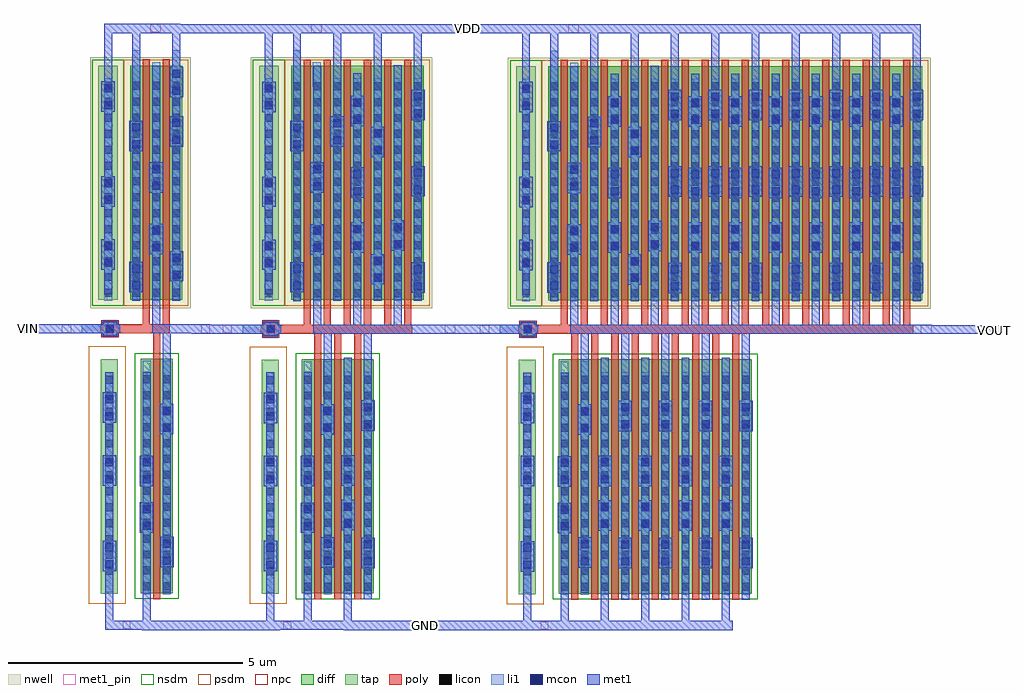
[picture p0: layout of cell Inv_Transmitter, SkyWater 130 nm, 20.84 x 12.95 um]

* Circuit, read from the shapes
.subckt Inv_Transmitter GND VDD VIN VOUT
XM1 Inverter1_1/INP VIN GND GND sky130_fd_pr__nfet_01v8 w=5 l=0.15
XM2 Inverter2_2/INP Inverter1_1/INP GND GND sky130_fd_pr__nfet_01v8 w=5 l=0.15 m=3
XM3 VOUT Inverter2_2/INP GND GND sky130_fd_pr__nfet_01v8 w=5 l=0.15 m=9
XM4 Inverter1_1/INP VIN VDD VDD sky130_fd_pr__pfet_01v8 w=5 l=0.15 m=2
XM5 Inverter2_2/INP Inverter1_1/INP VDD VDD sky130_fd_pr__pfet_01v8 w=5 l=0.15 m=6
XM6 VOUT Inverter2_2/INP VDD VDD sky130_fd_pr__pfet_01v8 w=5 l=0.15 m=18
.ends

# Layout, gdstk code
from math import pi, radians
import gdstk
lib = gdstk.Library(unit=1e-6, precision=1e-09)
def R(c, l, rs):  # rectangles x0, y0, x1, y1
    for r in rs: c.add(gdstk.rectangle(r[:2], r[2:], *l))
def A(c, l, x, y, w, h, nx, ny, dx, dy):  # array of equal rectangles
    R(c, l, [(x+i*dx, y+j*dy, x+i*dx+w, y+j*dy+h) for i in range(nx) for j in range(ny)])
nwell = (64, 20)
diff = (65, 20)
tap = (65, 44)
poly = (66, 20)
licon = (66, 44)
li1 = (67, 20)
mcon = (67, 44)
met1_pin = (68, 16)
met1 = (68, 20)
nsdm = (93, 44)
psdm = (94, 20)
npc = (95, 20)

dfl1sd_cdns_599788330632 = lib.new_cell('DFL1sd_CDNS_599788330632')
R(dfl1sd_cdns_599788330632, diff, [(0,0,0.265,5)])
A(dfl1sd_cdns_599788330632, licon, 0.055, 0.06, 0.17, 0.17, 1, 14, 0, 0.34)
R(dfl1sd_cdns_599788330632, li1, [(0.055,-0.02,0.225,4.73)])
R(dfl1sd_cdns_599788330632, nsdm, [(-0.125,-0.125,0.39,5.125)])

nfet_symbolic_cdns_59978 = lib.new_cell('nfet_symbolic_CDNS_599788330631')
R(nfet_symbolic_cdns_59978, diff, [(-0.25,0,0,5), (0,0,0.15,5), (0.15,0,0.4,5)])
R(nfet_symbolic_cdns_59978, poly, [(0,-0.13,0.15,5.13), (0,-0.13,0.15,0), (0,5,0.15,5.13)])
R(nfet_symbolic_cdns_59978, li1, [(-0.225,-0.02,-0.055,4.73), (0.205,-0.02,0.375,4.73)])
R(nfet_symbolic_cdns_59978, nsdm, [(-0.25,-0.125,0.4,5.125)])
nfet_symbolic_cdns_59978.add(gdstk.Reference(dfl1sd_cdns_599788330632, (0.15,0)))
nfet_symbolic_cdns_59978.add(gdstk.Reference(dfl1sd_cdns_599788330632, (0,0), rotation=pi, x_reflection=True))
nfet_symbolic_cdns_59978.add(gdstk.Label('D', (0.29,2.355), layer=83, texttype=44))
nfet_symbolic_cdns_59978.add(gdstk.Label('S', (-0.14,2.355), layer=83, texttype=44))

nfet_cdns_599788330630 = lib.new_cell('nfet_CDNS_599788330630')
nfet_cdns_599788330630.add(gdstk.Reference(nfet_symbolic_cdns_59978, (0,0)))

dfl1sd_cdns_599788330635 = lib.new_cell('DFL1sd_CDNS_599788330635')
R(dfl1sd_cdns_599788330635, nwell, [(-0.18,-0.18,0.445,5.18)])
R(dfl1sd_cdns_599788330635, diff, [(0,0,0.265,5)])
A(dfl1sd_cdns_599788330635, licon, 0.055, 0.06, 0.17, 0.17, 1, 14, 0, 0.34)
R(dfl1sd_cdns_599788330635, li1, [(0.055,-0.02,0.225,4.73)])
R(dfl1sd_cdns_599788330635, psdm, [(-0.125,-0.125,0.39,5.125)])

dfl1sd2_cdns_59978833063 = lib.new_cell('DFL1sd2_CDNS_599788330636')
R(dfl1sd2_cdns_59978833063, nwell, [(-0.18,-0.18,0.46,5.18)])
R(dfl1sd2_cdns_59978833063, diff, [(0,0,0.28,5)])
A(dfl1sd2_cdns_59978833063, licon, 0.055, 0.06, 0.17, 0.17, 1, 14, 0, 0.34)
R(dfl1sd2_cdns_59978833063, li1, [(0.055,-0.02,0.225,4.73)])
R(dfl1sd2_cdns_59978833063, psdm, [(-0.125,-0.125,0.405,5.125)])

pfet_symbolic_cdns_59978 = lib.new_cell('pfet_symbolic_CDNS_599788330634')
R(pfet_symbolic_cdns_59978, nwell, [(-0.445,-0.18,1.025,5.18)])
R(pfet_symbolic_cdns_59978, diff, [(-0.25,0,0,5), (0,0,0.15,5), (0.43,0,0.58,5), (0.58,0,0.83,5)])
R(pfet_symbolic_cdns_59978, poly, [(0,-0.13,0.15,5.13), (0,-0.13,0.15,0), (0.43,-0.13,0.58,5.13), (0.43,-0.13,0.58,0), (0,5,0.15,5.13), (0.43,5,0.58,5.13)])
A(pfet_symbolic_cdns_59978, li1, -0.225, -0.02, 0.17, 4.75, 3, 1, 0.43, 0)
R(pfet_symbolic_cdns_59978, psdm, [(-0.25,-0.125,0.15,5.125), (0.18,-0.125,0.83,5.125)])
pfet_symbolic_cdns_59978.add(gdstk.Reference(dfl1sd_cdns_599788330635, (0.58,0)))
pfet_symbolic_cdns_59978.add(gdstk.Reference(dfl1sd_cdns_599788330635, (0,0), rotation=pi, x_reflection=True))
pfet_symbolic_cdns_59978.add(gdstk.Reference(dfl1sd2_cdns_59978833063, (0.15,0)))
pfet_symbolic_cdns_59978.add(gdstk.Label('S', (0.72,2.355), layer=83, texttype=44))
pfet_symbolic_cdns_59978.add(gdstk.Label('D', (0.29,2.355), layer=83, texttype=44))
pfet_symbolic_cdns_59978.add(gdstk.Label('S', (-0.14,2.355), layer=83, texttype=44))

pfet_cdns_599788330633 = lib.new_cell('pfet_CDNS_599788330633')
R(pfet_cdns_599788330633, nwell, [(-1.125,-0.18,-0.445,5.18)])
R(pfet_cdns_599788330633, tap, [(-0.945,0,-0.535,5)])
A(pfet_cdns_599788330633, licon, -0.825, 0.06, 0.17, 0.17, 1, 14, 0, 0.34)
R(pfet_cdns_599788330633, li1, [(-0.825,-0.02,-0.655,4.73)])
R(pfet_cdns_599788330633, nsdm, [(-1.08,-0.125,-0.4,5.125)])
R(pfet_cdns_599788330633, psdm, [(-0.4,-0.125,-0.39,5.125)])
pfet_cdns_599788330633.add(gdstk.Reference(pfet_symbolic_cdns_59978, (0,0)))

l1m1_c_cdns_599788330630 = lib.new_cell('L1M1_C_CDNS_599788330630')
R(l1m1_c_cdns_599788330630, li1, [(-0.085,-0.085,0.085,0.085)])
R(l1m1_c_cdns_599788330630, mcon, [(-0.085,-0.085,0.085,0.085)])
R(l1m1_c_cdns_599788330630, met1, [(-0.145,-0.145,0.145,0.145)])

l1m1_c_cdns_599788330631 = lib.new_cell('L1M1_C_CDNS_599788330631')
R(l1m1_c_cdns_599788330631, li1, [(-0.085,-0.265,0.085,0.265)])
R(l1m1_c_cdns_599788330631, mcon, [(-0.085,-0.265,0.085,-0.095), (-0.085,0.095,0.085,0.265)])
R(l1m1_c_cdns_599788330631, met1, [(-0.145,-0.325,0.145,0.325)])

pyl1_c_cdns_599788330632 = lib.new_cell('PYL1_C_CDNS_599788330632')
R(pyl1_c_cdns_599788330632, poly, [(-0.165,-0.165,0.165,0.165)])
R(pyl1_c_cdns_599788330632, licon, [(-0.085,-0.085,0.085,0.085)])
R(pyl1_c_cdns_599788330632, li1, [(-0.165,-0.165,0.165,0.165)])
R(pyl1_c_cdns_599788330632, npc, [(-0.185,-0.185,0.185,0.185)])

inverter0 = lib.new_cell('Inverter0')
R(inverter0, tap, [(2.02,1.48,2.385,6.48)])
R(inverter0, poly, [(3.14,6.62,3.29,7.23), (2.005,7.035,3.495,7.23), (2.915,7.035,3.065,7.625), (3.345,7.035,3.495,7.625), (3.345,7.23,3.495,7.625)])
A(inverter0, licon, 2.12, 1.88, 0.17, 0.17, 1, 13, 0, 0.34)
R(inverter0, li1, [(2.12,1.505,2.29,6.21), (2.92,5.685,3.09,6.45), (3.34,5.685,3.51,6.45), (3.345,6.22,3.515,6.45), (1.615,7.035,2.435,7.23), (2.69,12.32,2.86,13.085), (3.115,12.32,3.285,12.83), (3.55,12.32,3.72,13.085)])
R(inverter0, met1_pin, [(2.485,0.725,2.65,0.885), (4.165,7.04,4.35,7.225), (1.19,7.05,1.385,7.225), (3.08,13.465,3.305,13.64)])
R(inverter0, met1, [(2.12,0.71,2.29,6.21), (2.12,0.71,3.09,0.905), (2.915,0.71,3.09,6.21), (3.345,1.51,3.515,7.23), (1.185,7.035,2.435,7.23), (3.12,7.035,4.37,7.23), (3.12,7.035,3.29,12.755), (2.69,7.73,2.86,13.645), (3.55,7.735,3.72,13.645), (2.09,7.875,2.26,13.645), (2.09,13.45,3.72,13.645)])
R(inverter0, psdm, [(1.765,1.265,2.555,6.76)])
inverter0.add(gdstk.Reference(nfet_cdns_599788330630, (3.14,1.49)))
inverter0.add(gdstk.Reference(pfet_cdns_599788330633, (2.915,7.755)))
inverter0.add(gdstk.Reference(l1m1_c_cdns_599788330630, (2.215,7.135)))
inverter0.add(gdstk.Reference(l1m1_c_cdns_599788330631, (2.175,12.09)))
inverter0.add(gdstk.Reference(l1m1_c_cdns_599788330631, (2.175,10.065)))
inverter0.add(gdstk.Reference(l1m1_c_cdns_599788330631, (2.175,8.72)))
inverter0.add(gdstk.Reference(l1m1_c_cdns_599788330631, (2.205,2.285)))
inverter0.add(gdstk.Reference(l1m1_c_cdns_599788330631, (2.205,4.105)))
inverter0.add(gdstk.Reference(l1m1_c_cdns_599788330631, (2.205,5.45)))
inverter0.add(gdstk.Reference(l1m1_c_cdns_599788330631, (2.775,8.24)))
inverter0.add(gdstk.Reference(l1m1_c_cdns_599788330631, (2.775,11.255)))
inverter0.add(gdstk.Reference(l1m1_c_cdns_599788330631, (3,3.105)))
inverter0.add(gdstk.Reference(l1m1_c_cdns_599788330631, (3,4.1)))
inverter0.add(gdstk.Reference(l1m1_c_cdns_599788330631, (3.205,9.05)))
inverter0.add(gdstk.Reference(l1m1_c_cdns_599788330631, (3.205,10.365)))
inverter0.add(gdstk.Reference(l1m1_c_cdns_599788330631, (3.425,5.205)))
inverter0.add(gdstk.Reference(l1m1_c_cdns_599788330631, (3.43,2.365)))
inverter0.add(gdstk.Reference(l1m1_c_cdns_599788330631, (3.635,11.35)))
inverter0.add(gdstk.Reference(l1m1_c_cdns_599788330631, (3.635,12.4)))
inverter0.add(gdstk.Reference(l1m1_c_cdns_599788330631, (3.64,8.47)))
inverter0.add(gdstk.Reference(pyl1_c_cdns_599788330632, (2.215,7.135)))
inverter0.add(gdstk.Label('VDD', (3.195,13.56), layer=68, texttype=20))
inverter0.add(gdstk.Label('INP', (1.3,7.12), layer=68, texttype=20))
inverter0.add(gdstk.Label('OUT', (4.25,7.16), layer=68, texttype=20))
inverter0.add(gdstk.Label('GND', (2.56,0.79), layer=68, texttype=20))

c_dfl1sd2_cdns_59978833063 = lib.new_cell('DFL1sd2_CDNS_599788330639')
R(c_dfl1sd2_cdns_59978833063, diff, [(0,0,0.28,5)])
A(c_dfl1sd2_cdns_59978833063, licon, 0.055, 0.06, 0.17, 0.17, 1, 14, 0, 0.34)
R(c_dfl1sd2_cdns_59978833063, li1, [(0.055,-0.02,0.225,4.73)])
R(c_dfl1sd2_cdns_59978833063, nsdm, [(-0.125,-0.125,0.405,5.125)])

c_nfet_symbolic_cdns_59978 = lib.new_cell('nfet_symbolic_CDNS_599788330638')
A(c_nfet_symbolic_cdns_59978, diff, 0, 0, 0.15, 5, 3, 1, 0.43, 0)
R(c_nfet_symbolic_cdns_59978, diff, [(-0.25,0,0,5), (1.01,0,1.26,5)])
A(c_nfet_symbolic_cdns_59978, poly, 0, -0.13, 0.15, 5.26, 3, 1, 0.43, 0)
A(c_nfet_symbolic_cdns_59978, poly, 0, -0.13, 0.15, 0.13, 3, 2, 0.43, 5.13)
A(c_nfet_symbolic_cdns_59978, li1, -0.225, -0.02, 0.17, 4.75, 4, 1, 0.43, 0)
R(c_nfet_symbolic_cdns_59978, nsdm, [(-0.25,-0.125,0.15,5.125), (0.18,-0.125,0.58,5.125), (0.61,-0.125,1.26,5.125)])
c_nfet_symbolic_cdns_59978.add(gdstk.Reference(dfl1sd_cdns_599788330632, (1.01,0)))
c_nfet_symbolic_cdns_59978.add(gdstk.Reference(dfl1sd_cdns_599788330632, (0,0), rotation=pi, x_reflection=True))
c_nfet_symbolic_cdns_59978.add(gdstk.Reference(c_dfl1sd2_cdns_59978833063, (0.58,0)))
c_nfet_symbolic_cdns_59978.add(gdstk.Reference(c_dfl1sd2_cdns_59978833063, (0.15,0)))
c_nfet_symbolic_cdns_59978.add(gdstk.Label('D', (1.15,2.355), layer=83, texttype=44))
c_nfet_symbolic_cdns_59978.add(gdstk.Label('S', (0.72,2.355), layer=83, texttype=44))
c_nfet_symbolic_cdns_59978.add(gdstk.Label('D', (0.29,2.355), layer=83, texttype=44))
c_nfet_symbolic_cdns_59978.add(gdstk.Label('S', (-0.14,2.355), layer=83, texttype=44))

nfet_cdns_599788330637 = lib.new_cell('nfet_CDNS_599788330637')
nfet_cdns_599788330637.add(gdstk.Reference(c_nfet_symbolic_cdns_59978, (0,0)))

c_pfet_symbolic_cdns_59978 = lib.new_cell('pfet_symbolic_CDNS_5997883306311')
R(c_pfet_symbolic_cdns_59978, nwell, [(-0.445,-0.18,2.745,5.18)])
A(c_pfet_symbolic_cdns_59978, diff, 0, 0, 0.15, 5, 6, 1, 0.43, 0)
R(c_pfet_symbolic_cdns_59978, diff, [(-0.25,0,0,5), (2.3,0,2.55,5)])
A(c_pfet_symbolic_cdns_59978, poly, 0, -0.13, 0.15, 5.26, 6, 1, 0.43, 0)
A(c_pfet_symbolic_cdns_59978, poly, 0, -0.13, 0.15, 0.13, 6, 2, 0.43, 5.13)
A(c_pfet_symbolic_cdns_59978, li1, -0.225, -0.02, 0.17, 4.75, 7, 1, 0.43, 0)
A(c_pfet_symbolic_cdns_59978, psdm, -0.25, -0.125, 0.4, 5.25, 5, 1, 0.43, 0)
R(c_pfet_symbolic_cdns_59978, psdm, [(1.9,-0.125,2.55,5.125)])
c_pfet_symbolic_cdns_59978.add(gdstk.Reference(dfl1sd_cdns_599788330635, (2.3,0)))
c_pfet_symbolic_cdns_59978.add(gdstk.Reference(dfl1sd_cdns_599788330635, (0,0), rotation=pi, x_reflection=True))
c_pfet_symbolic_cdns_59978.add(gdstk.Reference(dfl1sd2_cdns_59978833063, (1.87,0)))
c_pfet_symbolic_cdns_59978.add(gdstk.Reference(dfl1sd2_cdns_59978833063, (1.44,0)))
c_pfet_symbolic_cdns_59978.add(gdstk.Reference(dfl1sd2_cdns_59978833063, (1.01,0)))
c_pfet_symbolic_cdns_59978.add(gdstk.Reference(dfl1sd2_cdns_59978833063, (0.58,0)))
c_pfet_symbolic_cdns_59978.add(gdstk.Reference(dfl1sd2_cdns_59978833063, (0.15,0)))
c_pfet_symbolic_cdns_59978.add(gdstk.Label('S', (2.44,2.355), layer=83, texttype=44))
c_pfet_symbolic_cdns_59978.add(gdstk.Label('D', (2.01,2.355), layer=83, texttype=44))
c_pfet_symbolic_cdns_59978.add(gdstk.Label('S', (1.58,2.355), layer=83, texttype=44))
c_pfet_symbolic_cdns_59978.add(gdstk.Label('D', (1.15,2.355), layer=83, texttype=44))
c_pfet_symbolic_cdns_59978.add(gdstk.Label('S', (0.72,2.355), layer=83, texttype=44))
c_pfet_symbolic_cdns_59978.add(gdstk.Label('D', (0.29,2.355), layer=83, texttype=44))
c_pfet_symbolic_cdns_59978.add(gdstk.Label('S', (-0.14,2.355), layer=83, texttype=44))

pfet_cdns_5997883306310 = lib.new_cell('pfet_CDNS_5997883306310')
R(pfet_cdns_5997883306310, nwell, [(-1.125,-0.18,-0.445,5.18)])
R(pfet_cdns_5997883306310, tap, [(-0.945,0,-0.535,5)])
A(pfet_cdns_5997883306310, licon, -0.825, 0.06, 0.17, 0.17, 1, 14, 0, 0.34)
R(pfet_cdns_5997883306310, li1, [(-0.825,-0.02,-0.655,4.73)])
R(pfet_cdns_5997883306310, nsdm, [(-1.08,-0.125,-0.4,5.125)])
R(pfet_cdns_5997883306310, psdm, [(-0.4,-0.125,-0.39,5.125)])
pfet_cdns_5997883306310.add(gdstk.Reference(c_pfet_symbolic_cdns_59978, (0,0)))

inverter1 = lib.new_cell('Inverter1')
R(inverter1, tap, [(2.355,1.175,2.72,6.175)])
A(inverter1, poly, 3.475, 6.315, 0.15, 0.61, 3, 1, 0.43, 0)
A(inverter1, poly, 3.68, 6.925, 0.15, 0.395, 5, 1, 0.43, 0)
R(inverter1, poly, [(2.34,6.73,5.57,6.925), (3.25,6.73,3.4,7.32), (3.68,6.73,3.83,7.32)])
A(inverter1, licon, 2.455, 1.575, 0.17, 0.17, 1, 13, 0, 0.34)
R(inverter1, li1, [(2.455,1.2,2.625,5.905), (3.255,5.38,3.425,6.145), (3.675,5.38,3.845,6.145), (3.68,5.915,3.85,6.145), (1.95,6.73,2.77,6.925), (3.025,12.015,3.195,12.78), (3.45,12.015,3.62,12.525)])
R(inverter1, met1_pin, [(2.82,0.42,2.985,0.58), (6.27,6.735,6.485,6.92), (1.525,6.745,1.72,6.92), (3.415,13.16,3.64,13.335)])
A(inverter1, met1, 3.885, 7.43, 0.17, 5.91, 3, 1, 0.86, 0)
R(inverter1, met1, [(2.455,0.405,2.625,5.905), (2.455,0.405,4.31,0.6), (3.25,0.405,3.425,5.905), (4.11,0.405,4.28,6.22), (4.54,1.055,4.71,6.925), (3.68,1.205,3.85,6.925), (5.175,6.725,5.345,12.46), (1.52,6.73,2.77,6.925), (3.455,6.73,3.625,12.45), (3.455,6.73,6.525,6.925), (4.315,6.73,4.485,12.29), (3.025,7.425,3.195,13.34), (2.425,7.57,2.595,13.34), (2.425,13.145,5.775,13.34)])
R(inverter1, psdm, [(2.1,0.96,2.89,6.455)])
inverter1.add(gdstk.Reference(nfet_cdns_599788330637, (3.475,1.185)))
inverter1.add(gdstk.Reference(pfet_cdns_5997883306310, (3.25,7.45)))
inverter1.add(gdstk.Reference(pyl1_c_cdns_599788330632, (2.55,6.83)))
inverter1.add(gdstk.Reference(l1m1_c_cdns_599788330630, (2.55,6.83)))
inverter1.add(gdstk.Reference(l1m1_c_cdns_599788330631, (5.69,11.615)))
inverter1.add(gdstk.Reference(l1m1_c_cdns_599788330631, (5.69,7.925)))
inverter1.add(gdstk.Reference(l1m1_c_cdns_599788330631, (5.69,9.985)))
inverter1.add(gdstk.Reference(l1m1_c_cdns_599788330631, (5.26,8.825)))
inverter1.add(gdstk.Reference(l1m1_c_cdns_599788330631, (4.83,8.105)))
inverter1.add(gdstk.Reference(l1m1_c_cdns_599788330631, (4.83,10.825)))
inverter1.add(gdstk.Reference(l1m1_c_cdns_599788330631, (4.4,11.48)))
inverter1.add(gdstk.Reference(l1m1_c_cdns_599788330631, (4.4,8.785)))
inverter1.add(gdstk.Reference(l1m1_c_cdns_599788330631, (4.4,9.955)))
inverter1.add(gdstk.Reference(l1m1_c_cdns_599788330631, (4.625,2.05)))
inverter1.add(gdstk.Reference(l1m1_c_cdns_599788330631, (4.625,4.98)))
inverter1.add(gdstk.Reference(l1m1_c_cdns_599788330631, (4.195,3.805)))
inverter1.add(gdstk.Reference(l1m1_c_cdns_599788330631, (4.195,2.855)))
inverter1.add(gdstk.Reference(l1m1_c_cdns_599788330631, (3.76,4.9)))
inverter1.add(gdstk.Reference(l1m1_c_cdns_599788330631, (3.335,2.8)))
inverter1.add(gdstk.Reference(l1m1_c_cdns_599788330631, (3.335,3.795)))
inverter1.add(gdstk.Reference(l1m1_c_cdns_599788330631, (3.765,2.06)))
inverter1.add(gdstk.Reference(l1m1_c_cdns_599788330631, (3.54,8.745)))
inverter1.add(gdstk.Reference(l1m1_c_cdns_599788330631, (2.51,11.785)))
inverter1.add(gdstk.Reference(l1m1_c_cdns_599788330631, (2.51,9.76)))
inverter1.add(gdstk.Reference(l1m1_c_cdns_599788330631, (2.51,8.415)))
inverter1.add(gdstk.Reference(l1m1_c_cdns_599788330631, (3.97,11.045)))
inverter1.add(gdstk.Reference(l1m1_c_cdns_599788330631, (3.54,10.06)))
inverter1.add(gdstk.Reference(l1m1_c_cdns_599788330631, (3.11,7.935)))
inverter1.add(gdstk.Reference(l1m1_c_cdns_599788330631, (3.11,10.95)))
inverter1.add(gdstk.Reference(l1m1_c_cdns_599788330631, (2.54,1.98)))
inverter1.add(gdstk.Reference(l1m1_c_cdns_599788330631, (2.54,3.8)))
inverter1.add(gdstk.Reference(l1m1_c_cdns_599788330631, (2.54,5.145)))
inverter1.add(gdstk.Label('OUT', (6.395,6.82), layer=68, texttype=20))
inverter1.add(gdstk.Label('VDD', (3.53,13.255), layer=68, texttype=20))
inverter1.add(gdstk.Label('INP', (1.545,6.815), layer=68, texttype=20))
inverter1.add(gdstk.Label('GND', (2.895,0.485), layer=68, texttype=20))

c_nfet_symbolic_cdns_59978_ = lib.new_cell('nfet_symbolic_CDNS_5997883306313')
A(c_nfet_symbolic_cdns_59978_, diff, 0, 0, 0.15, 5, 9, 1, 0.43, 0)
R(c_nfet_symbolic_cdns_59978_, diff, [(-0.25,0,0,5), (3.59,0,3.84,5)])
A(c_nfet_symbolic_cdns_59978_, poly, 0, -0.13, 0.15, 5.26, 9, 1, 0.43, 0)
A(c_nfet_symbolic_cdns_59978_, poly, 0, -0.13, 0.15, 0.13, 9, 2, 0.43, 5.13)
A(c_nfet_symbolic_cdns_59978_, li1, -0.225, -0.02, 0.17, 4.75, 10, 1, 0.43, 0)
A(c_nfet_symbolic_cdns_59978_, nsdm, -0.25, -0.125, 0.4, 5.25, 8, 1, 0.43, 0)
R(c_nfet_symbolic_cdns_59978_, nsdm, [(3.19,-0.125,3.84,5.125)])
c_nfet_symbolic_cdns_59978_.add(gdstk.Reference(dfl1sd_cdns_599788330632, (3.59,0)))
c_nfet_symbolic_cdns_59978_.add(gdstk.Reference(dfl1sd_cdns_599788330632, (0,0), rotation=pi, x_reflection=True))
c_nfet_symbolic_cdns_59978_.add(gdstk.Reference(c_dfl1sd2_cdns_59978833063, (3.16,0)))
c_nfet_symbolic_cdns_59978_.add(gdstk.Reference(c_dfl1sd2_cdns_59978833063, (2.73,0)))
c_nfet_symbolic_cdns_59978_.add(gdstk.Reference(c_dfl1sd2_cdns_59978833063, (2.3,0)))
c_nfet_symbolic_cdns_59978_.add(gdstk.Reference(c_dfl1sd2_cdns_59978833063, (1.87,0)))
c_nfet_symbolic_cdns_59978_.add(gdstk.Reference(c_dfl1sd2_cdns_59978833063, (1.44,0)))
c_nfet_symbolic_cdns_59978_.add(gdstk.Reference(c_dfl1sd2_cdns_59978833063, (1.01,0)))
c_nfet_symbolic_cdns_59978_.add(gdstk.Reference(c_dfl1sd2_cdns_59978833063, (0.58,0)))
c_nfet_symbolic_cdns_59978_.add(gdstk.Reference(c_dfl1sd2_cdns_59978833063, (0.15,0)))
c_nfet_symbolic_cdns_59978_.add(gdstk.Label('D', (3.73,2.355), layer=83, texttype=44))
c_nfet_symbolic_cdns_59978_.add(gdstk.Label('S', (3.3,2.355), layer=83, texttype=44))
c_nfet_symbolic_cdns_59978_.add(gdstk.Label('D', (2.87,2.355), layer=83, texttype=44))
c_nfet_symbolic_cdns_59978_.add(gdstk.Label('S', (2.44,2.355), layer=83, texttype=44))
c_nfet_symbolic_cdns_59978_.add(gdstk.Label('D', (2.01,2.355), layer=83, texttype=44))
c_nfet_symbolic_cdns_59978_.add(gdstk.Label('S', (1.58,2.355), layer=83, texttype=44))
c_nfet_symbolic_cdns_59978_.add(gdstk.Label('D', (1.15,2.355), layer=83, texttype=44))
c_nfet_symbolic_cdns_59978_.add(gdstk.Label('S', (0.72,2.355), layer=83, texttype=44))
c_nfet_symbolic_cdns_59978_.add(gdstk.Label('D', (0.29,2.355), layer=83, texttype=44))
c_nfet_symbolic_cdns_59978_.add(gdstk.Label('S', (-0.14,2.355), layer=83, texttype=44))

nfet_cdns_5997883306312 = lib.new_cell('nfet_CDNS_5997883306312')
nfet_cdns_5997883306312.add(gdstk.Reference(c_nfet_symbolic_cdns_59978_, (0,0)))

c_pfet_symbolic_cdns_59978_ = lib.new_cell('pfet_symbolic_CDNS_5997883306315')
R(c_pfet_symbolic_cdns_59978_, nwell, [(-0.445,-0.18,7.905,5.18)])
A(c_pfet_symbolic_cdns_59978_, diff, 0, 0, 0.15, 5, 18, 1, 0.43, 0)
R(c_pfet_symbolic_cdns_59978_, diff, [(-0.25,0,0,5), (7.46,0,7.71,5)])
A(c_pfet_symbolic_cdns_59978_, poly, 0, -0.13, 0.15, 5.26, 18, 1, 0.43, 0)
A(c_pfet_symbolic_cdns_59978_, poly, 0, -0.13, 0.15, 0.13, 18, 2, 0.43, 5.13)
A(c_pfet_symbolic_cdns_59978_, li1, -0.225, -0.02, 0.17, 4.75, 19, 1, 0.43, 0)
A(c_pfet_symbolic_cdns_59978_, psdm, -0.25, -0.125, 0.4, 5.25, 17, 1, 0.43, 0)
R(c_pfet_symbolic_cdns_59978_, psdm, [(7.06,-0.125,7.71,5.125)])
c_pfet_symbolic_cdns_59978_.add(gdstk.Reference(dfl1sd_cdns_599788330635, (7.46,0)))
c_pfet_symbolic_cdns_59978_.add(gdstk.Reference(dfl1sd_cdns_599788330635, (0,0), rotation=pi, x_reflection=True))
c_pfet_symbolic_cdns_59978_.add(gdstk.Reference(dfl1sd2_cdns_59978833063, (7.03,0)))
c_pfet_symbolic_cdns_59978_.add(gdstk.Reference(dfl1sd2_cdns_59978833063, (6.6,0)))
c_pfet_symbolic_cdns_59978_.add(gdstk.Reference(dfl1sd2_cdns_59978833063, (6.17,0)))
c_pfet_symbolic_cdns_59978_.add(gdstk.Reference(dfl1sd2_cdns_59978833063, (5.74,0)))
c_pfet_symbolic_cdns_59978_.add(gdstk.Reference(dfl1sd2_cdns_59978833063, (5.31,0)))
c_pfet_symbolic_cdns_59978_.add(gdstk.Reference(dfl1sd2_cdns_59978833063, (4.88,0)))
c_pfet_symbolic_cdns_59978_.add(gdstk.Reference(dfl1sd2_cdns_59978833063, (4.45,0)))
c_pfet_symbolic_cdns_59978_.add(gdstk.Reference(dfl1sd2_cdns_59978833063, (4.02,0)))
c_pfet_symbolic_cdns_59978_.add(gdstk.Reference(dfl1sd2_cdns_59978833063, (3.59,0)))
c_pfet_symbolic_cdns_59978_.add(gdstk.Reference(dfl1sd2_cdns_59978833063, (3.16,0)))
c_pfet_symbolic_cdns_59978_.add(gdstk.Reference(dfl1sd2_cdns_59978833063, (2.73,0)))
c_pfet_symbolic_cdns_59978_.add(gdstk.Reference(dfl1sd2_cdns_59978833063, (2.3,0)))
c_pfet_symbolic_cdns_59978_.add(gdstk.Reference(dfl1sd2_cdns_59978833063, (1.87,0)))
c_pfet_symbolic_cdns_59978_.add(gdstk.Reference(dfl1sd2_cdns_59978833063, (1.44,0)))
c_pfet_symbolic_cdns_59978_.add(gdstk.Reference(dfl1sd2_cdns_59978833063, (1.01,0)))
c_pfet_symbolic_cdns_59978_.add(gdstk.Reference(dfl1sd2_cdns_59978833063, (0.58,0)))
c_pfet_symbolic_cdns_59978_.add(gdstk.Reference(dfl1sd2_cdns_59978833063, (0.15,0)))
c_pfet_symbolic_cdns_59978_.add(gdstk.Label('S', (7.6,2.355), layer=83, texttype=44))
c_pfet_symbolic_cdns_59978_.add(gdstk.Label('D', (7.17,2.355), layer=83, texttype=44))
c_pfet_symbolic_cdns_59978_.add(gdstk.Label('S', (6.74,2.355), layer=83, texttype=44))
c_pfet_symbolic_cdns_59978_.add(gdstk.Label('D', (6.31,2.355), layer=83, texttype=44))
c_pfet_symbolic_cdns_59978_.add(gdstk.Label('S', (5.88,2.355), layer=83, texttype=44))
c_pfet_symbolic_cdns_59978_.add(gdstk.Label('D', (5.45,2.355), layer=83, texttype=44))
c_pfet_symbolic_cdns_59978_.add(gdstk.Label('S', (5.02,2.355), layer=83, texttype=44))
c_pfet_symbolic_cdns_59978_.add(gdstk.Label('D', (4.59,2.355), layer=83, texttype=44))
c_pfet_symbolic_cdns_59978_.add(gdstk.Label('S', (4.16,2.355), layer=83, texttype=44))
c_pfet_symbolic_cdns_59978_.add(gdstk.Label('D', (3.73,2.355), layer=83, texttype=44))
c_pfet_symbolic_cdns_59978_.add(gdstk.Label('S', (3.3,2.355), layer=83, texttype=44))
c_pfet_symbolic_cdns_59978_.add(gdstk.Label('D', (2.87,2.355), layer=83, texttype=44))
c_pfet_symbolic_cdns_59978_.add(gdstk.Label('S', (2.44,2.355), layer=83, texttype=44))
c_pfet_symbolic_cdns_59978_.add(gdstk.Label('D', (2.01,2.355), layer=83, texttype=44))
c_pfet_symbolic_cdns_59978_.add(gdstk.Label('S', (1.58,2.355), layer=83, texttype=44))
c_pfet_symbolic_cdns_59978_.add(gdstk.Label('D', (1.15,2.355), layer=83, texttype=44))
c_pfet_symbolic_cdns_59978_.add(gdstk.Label('S', (0.72,2.355), layer=83, texttype=44))
c_pfet_symbolic_cdns_59978_.add(gdstk.Label('D', (0.29,2.355), layer=83, texttype=44))
c_pfet_symbolic_cdns_59978_.add(gdstk.Label('S', (-0.14,2.355), layer=83, texttype=44))

pfet_cdns_5997883306314 = lib.new_cell('pfet_CDNS_5997883306314')
R(pfet_cdns_5997883306314, nwell, [(-1.125,-0.18,-0.445,5.18)])
R(pfet_cdns_5997883306314, tap, [(-0.945,0,-0.535,5)])
A(pfet_cdns_5997883306314, licon, -0.825, 0.06, 0.17, 0.17, 1, 14, 0, 0.34)
R(pfet_cdns_5997883306314, li1, [(-0.825,-0.02,-0.655,4.73)])
R(pfet_cdns_5997883306314, nsdm, [(-1.08,-0.125,-0.4,5.125)])
R(pfet_cdns_5997883306314, psdm, [(-0.4,-0.125,-0.39,5.125)])
pfet_cdns_5997883306314.add(gdstk.Reference(c_pfet_symbolic_cdns_59978_, (0,0)))

inverter2 = lib.new_cell('Inverter2')
R(inverter2, tap, [(1.09,1.12,1.455,6.12)])
A(inverter2, poly, 2.21, 6.26, 0.15, 0.61, 9, 1, 0.43, 0)
A(inverter2, poly, 2.415, 6.87, 0.15, 0.395, 17, 1, 0.43, 0)
R(inverter2, poly, [(1.075,6.675,9.51,6.87), (1.985,6.675,2.135,7.265), (2.415,6.675,2.565,7.265)])
A(inverter2, licon, 1.19, 1.52, 0.17, 0.17, 1, 13, 0, 0.34)
R(inverter2, li1, [(1.19,1.145,1.36,5.85), (1.99,5.325,2.16,6.09), (2.41,5.325,2.58,6.09), (2.415,5.86,2.585,6.09), (0.685,6.675,1.505,6.87), (1.76,11.96,1.93,12.725), (2.185,11.96,2.355,12.47)])
R(inverter2, met1_pin, [(1.555,0.365,1.72,0.525), (9.67,6.675,9.905,6.865), (0.26,6.69,0.455,6.865), (2.15,13.105,2.375,13.28)])
A(inverter2, met1, 2.845, 0.35, 0.17, 5.815, 4, 1, 0.86, 0)
A(inverter2, met1, 3.275, 1, 0.17, 5.87, 4, 1, 0.86, 0)
A(inverter2, met1, 4.77, 6.675, 0.17, 5.56, 6, 1, 0.86, 0)
A(inverter2, met1, 2.62, 7.375, 0.17, 5.91, 9, 1, 0.86, 0)
R(inverter2, met1, [(1.19,0.35,1.36,5.85), (1.19,0.35,5.655,0.545), (1.985,0.35,2.16,5.85), (2.415,1.15,2.585,6.87), (0.255,6.675,1.505,6.87), (2.19,6.675,2.36,12.395), (2.19,6.675,9.91,6.87), (3.05,6.675,3.22,12.235), (3.91,6.87,4.08,12.405), (1.76,7.37,1.93,13.285), (1.16,7.515,1.33,13.285), (1.16,13.09,9.67,13.285)])
R(inverter2, psdm, [(0.835,0.905,1.625,6.4)])
inverter2.add(gdstk.Reference(nfet_cdns_5997883306312, (2.21,1.13)))
inverter2.add(gdstk.Reference(pfet_cdns_5997883306314, (1.985,7.395)))
inverter2.add(gdstk.Reference(l1m1_c_cdns_599788330631, (9.155,11.425)))
inverter2.add(gdstk.Reference(l1m1_c_cdns_599788330631, (9.155,8.73)))
inverter2.add(gdstk.Reference(l1m1_c_cdns_599788330631, (9.155,9.9)))
inverter2.add(gdstk.Reference(l1m1_c_cdns_599788330631, (8.295,11.425)))
inverter2.add(gdstk.Reference(l1m1_c_cdns_599788330631, (8.295,8.73)))
inverter2.add(gdstk.Reference(l1m1_c_cdns_599788330631, (8.295,9.9)))
inverter2.add(gdstk.Reference(l1m1_c_cdns_599788330631, (7.435,11.425)))
inverter2.add(gdstk.Reference(l1m1_c_cdns_599788330631, (7.435,8.73)))
inverter2.add(gdstk.Reference(l1m1_c_cdns_599788330631, (7.435,9.9)))
inverter2.add(gdstk.Reference(l1m1_c_cdns_599788330631, (6.575,11.425)))
inverter2.add(gdstk.Reference(l1m1_c_cdns_599788330631, (6.575,8.73)))
inverter2.add(gdstk.Reference(l1m1_c_cdns_599788330631, (6.575,9.9)))
inverter2.add(gdstk.Reference(l1m1_c_cdns_599788330631, (5.715,11.425)))
inverter2.add(gdstk.Reference(l1m1_c_cdns_599788330631, (5.715,8.73)))
inverter2.add(gdstk.Reference(l1m1_c_cdns_599788330631, (5.715,9.9)))
inverter2.add(gdstk.Reference(l1m1_c_cdns_599788330631, (4.855,11.425)))
inverter2.add(gdstk.Reference(l1m1_c_cdns_599788330631, (4.855,8.73)))
inverter2.add(gdstk.Reference(l1m1_c_cdns_599788330631, (4.855,9.9)))
inverter2.add(gdstk.Reference(l1m1_c_cdns_599788330631, (9.585,11.56)))
inverter2.add(gdstk.Reference(l1m1_c_cdns_599788330631, (9.585,7.87)))
inverter2.add(gdstk.Reference(l1m1_c_cdns_599788330631, (9.585,9.93)))
inverter2.add(gdstk.Reference(l1m1_c_cdns_599788330631, (8.725,11.56)))
inverter2.add(gdstk.Reference(l1m1_c_cdns_599788330631, (8.725,7.87)))
inverter2.add(gdstk.Reference(l1m1_c_cdns_599788330631, (8.725,9.93)))
inverter2.add(gdstk.Reference(l1m1_c_cdns_599788330631, (7.865,11.56)))
inverter2.add(gdstk.Reference(l1m1_c_cdns_599788330631, (7.865,7.87)))
inverter2.add(gdstk.Reference(l1m1_c_cdns_599788330631, (7.865,9.93)))
inverter2.add(gdstk.Reference(l1m1_c_cdns_599788330631, (7.005,11.56)))
inverter2.add(gdstk.Reference(l1m1_c_cdns_599788330631, (7.005,7.87)))
inverter2.add(gdstk.Reference(l1m1_c_cdns_599788330631, (7.005,9.93)))
inverter2.add(gdstk.Reference(l1m1_c_cdns_599788330631, (6.145,11.56)))
inverter2.add(gdstk.Reference(l1m1_c_cdns_599788330631, (6.145,7.87)))
inverter2.add(gdstk.Reference(l1m1_c_cdns_599788330631, (6.145,9.93)))
inverter2.add(gdstk.Reference(l1m1_c_cdns_599788330631, (5.285,11.56)))
inverter2.add(gdstk.Reference(l1m1_c_cdns_599788330631, (5.285,7.87)))
inverter2.add(gdstk.Reference(l1m1_c_cdns_599788330631, (5.285,9.93)))
inverter2.add(gdstk.Reference(l1m1_c_cdns_599788330631, (3.79,3.75)))
inverter2.add(gdstk.Reference(l1m1_c_cdns_599788330631, (3.79,2.8)))
inverter2.add(gdstk.Reference(l1m1_c_cdns_599788330631, (4.65,3.75)))
inverter2.add(gdstk.Reference(l1m1_c_cdns_599788330631, (4.65,2.8)))
inverter2.add(gdstk.Reference(l1m1_c_cdns_599788330631, (5.51,3.75)))
inverter2.add(gdstk.Reference(l1m1_c_cdns_599788330631, (5.51,2.8)))
inverter2.add(gdstk.Reference(l1m1_c_cdns_599788330631, (5.94,4.925)))
inverter2.add(gdstk.Reference(l1m1_c_cdns_599788330631, (5.94,1.995)))
inverter2.add(gdstk.Reference(l1m1_c_cdns_599788330631, (5.08,1.995)))
inverter2.add(gdstk.Reference(l1m1_c_cdns_599788330631, (5.08,4.925)))
inverter2.add(gdstk.Reference(l1m1_c_cdns_599788330631, (4.22,1.995)))
inverter2.add(gdstk.Reference(l1m1_c_cdns_599788330631, (4.22,4.925)))
inverter2.add(gdstk.Reference(l1m1_c_cdns_599788330631, (2.705,10.99)))
inverter2.add(gdstk.Reference(l1m1_c_cdns_599788330631, (2.5,2.005)))
inverter2.add(gdstk.Reference(l1m1_c_cdns_599788330631, (2.495,4.845)))
inverter2.add(gdstk.Reference(l1m1_c_cdns_599788330631, (2.275,8.69)))
inverter2.add(gdstk.Reference(l1m1_c_cdns_599788330631, (2.275,10.005)))
inverter2.add(gdstk.Reference(l1m1_c_cdns_599788330631, (2.07,2.745)))
inverter2.add(gdstk.Reference(l1m1_c_cdns_599788330631, (2.07,3.74)))
inverter2.add(gdstk.Reference(l1m1_c_cdns_599788330631, (1.845,7.88)))
inverter2.add(gdstk.Reference(l1m1_c_cdns_599788330631, (1.845,10.895)))
inverter2.add(gdstk.Reference(l1m1_c_cdns_599788330631, (1.275,1.925)))
inverter2.add(gdstk.Reference(l1m1_c_cdns_599788330631, (1.275,3.745)))
inverter2.add(gdstk.Reference(l1m1_c_cdns_599788330631, (1.275,5.09)))
inverter2.add(gdstk.Reference(l1m1_c_cdns_599788330631, (1.245,11.73)))
inverter2.add(gdstk.Reference(l1m1_c_cdns_599788330631, (1.245,9.705)))
inverter2.add(gdstk.Reference(l1m1_c_cdns_599788330631, (1.245,8.36)))
inverter2.add(gdstk.Reference(l1m1_c_cdns_599788330631, (4.425,11.56)))
inverter2.add(gdstk.Reference(l1m1_c_cdns_599788330631, (4.425,7.87)))
inverter2.add(gdstk.Reference(l1m1_c_cdns_599788330631, (4.425,9.93)))
inverter2.add(gdstk.Reference(l1m1_c_cdns_599788330631, (3.995,8.77)))
inverter2.add(gdstk.Reference(l1m1_c_cdns_599788330631, (3.565,8.05)))
inverter2.add(gdstk.Reference(l1m1_c_cdns_599788330631, (3.565,10.77)))
inverter2.add(gdstk.Reference(l1m1_c_cdns_599788330631, (3.135,11.425)))
inverter2.add(gdstk.Reference(l1m1_c_cdns_599788330631, (3.135,8.73)))
inverter2.add(gdstk.Reference(l1m1_c_cdns_599788330631, (3.135,9.9)))
inverter2.add(gdstk.Reference(l1m1_c_cdns_599788330631, (3.36,1.995)))
inverter2.add(gdstk.Reference(l1m1_c_cdns_599788330631, (3.36,4.925)))
inverter2.add(gdstk.Reference(l1m1_c_cdns_599788330631, (2.93,3.75)))
inverter2.add(gdstk.Reference(l1m1_c_cdns_599788330631, (2.93,2.8)))
inverter2.add(gdstk.Reference(l1m1_c_cdns_599788330630, (1.285,6.775)))
inverter2.add(gdstk.Reference(pyl1_c_cdns_599788330632, (1.285,6.775)))
inverter2.add(gdstk.Label('OUT', (9.815,6.745), layer=68, texttype=20))
inverter2.add(gdstk.Label('VDD', (2.265,13.2), layer=68, texttype=20))
inverter2.add(gdstk.Label('GND', (1.63,0.43), layer=68, texttype=20))
inverter2.add(gdstk.Label('INP', (0.28,6.76), layer=68, texttype=20))

inv_transmitter = lib.new_cell('Inv_Transmitter')
R(inv_transmitter, met1_pin, [(8.54,0.925,8.77,1.12), (20.675,7.255,20.93,7.43), (0.095,7.26,0.285,7.46), (9.395,13.675,9.7,13.85)])
R(inv_transmitter, met1, [(2.63,0.925,5.565,1.12), (6.93,0.925,11.5,1.12), (19.245,7.25,20.93,7.44), (3.68,7.255,4.79,7.45), (9.02,7.255,9.87,7.45), (0.09,7.26,1.33,7.46), (3.275,13.675,5.73,13.86), (8.425,13.675,11.055,13.86)])
inv_transmitter.add(gdstk.Reference(inverter0, (-0.28,0.225)))
inv_transmitter.add(gdstk.Reference(inverter1, (2.82,0.525)))
inv_transmitter.add(gdstk.Reference(inverter2, (9.575,0.575)))
inv_transmitter.add(gdstk.Label('VOUT', (20.83,7.33), layer=68, texttype=20))
inv_transmitter.add(gdstk.Label('VIN', (0.205,7.355), layer=68, texttype=20))
inv_transmitter.add(gdstk.Label('GND', (8.67,1.03), layer=68, texttype=20))
inv_transmitter.add(gdstk.Label('VDD', (9.565,13.77), layer=68, texttype=20))

lib.write_gds('Inv_Transmitter.gds')
